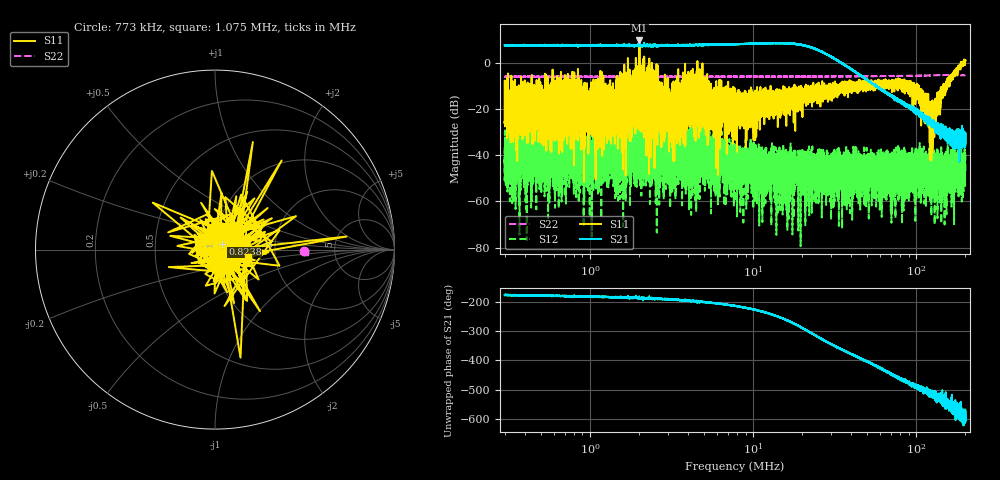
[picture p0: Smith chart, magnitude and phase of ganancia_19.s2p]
# Hz S DB R 50
! CMT, M5065, 19127446, 24.2.4/2
! Date: 11/1/2024 3:20:14 PM
! Data: Format (Calibration Info)
! Freq	S11:dB/Ang(F2)	S21:dB/Ang(F2)	S12:dB/Ang(F2)	S22:dB/Ang(F2)
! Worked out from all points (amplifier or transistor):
!   9000 points, 300 kHz to 200 MHz, reference 50 ohm
!   highest |S21| = 9.6 dB at 2.012 MHz (marker M1)
!   |S21| within 3 dB of that: start of sweep to 22.43 MHz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
!   unconditionally stable (mu >= 1): 2.394 MHz to 4.554 MHz; 4.894 MHz to 187.6 MHz; 187.8 MHz to 189.5 MHz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
!   at 886.8 kHz: K = 18.21, MAG = 8.9 dB, |S12| = -41.4 dB
!   at 7.749 MHz: K = 145.36, MAG = 9.3 dB, |S12| = -59.9 dB
!   at 200 MHz: K = -782.19, MSG = 8.7 dB, |S12| = -47.8 dB
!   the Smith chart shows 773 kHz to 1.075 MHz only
!   S11 on the Smith chart (normalised r, x): 773 kHz: 0.84, -0.02; 823.8 kHz: 1.08, +0.07; 1.075 MHz: 1.45, -0.12
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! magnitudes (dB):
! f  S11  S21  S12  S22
! 300 kHz  -25.6  7.6  -36.4  -6.0
! 310.6 kHz  -20.3  7.5  -36.5  -6.1
! 339.5 kHz  -28.9  7.6  -36.9  -6.0
! 773 kHz  -21.2  7.7  -36.9  -6.0
! 823.8 kHz  -25.6  7.5  -37.9  -6.0
! 886.8 kHz  -20.2  7.6  -41.4  -6.0
! 1.075 MHz  -14.5  7.4  -30.4  -6.0
! 2.012 MHz  8.3  9.6  -48.3  -6.0
! 2.621 MHz  -21.5  7.5  -43.4  -6.0
! 3.184 MHz  -14.4  7.6  -48.4  -6.0
! 4.19 MHz  -25.7  7.7  -38.8  -6.0
! 4.474 MHz  -21.0  7.8  -47.3  -6.0
! 4.768 MHz  -8.0  8.0  -43.8  -6.0
! 7.749 MHz  -20.2  8.0  -59.9  -6.0
! 15.33 MHz  -11.7  8.5  -43.5  -6.0
! 16.1 MHz  -14.5  8.4  -41.4  -6.0
! 22.91 MHz  -12.5  6.5  -45.7  -6.0
! 67.71 MHz  -10.8  -13.4  -49.3  -5.7
! 102.3 MHz  -14.4  -20.2  -52.2  -5.6
! 125 MHz  -26.1  -25.5  -44.8  -5.5
! 146 MHz  -9.8  -30.8  -47.3  -5.3
! 200 MHz  1.0  -30.4  -47.8  -5.4
